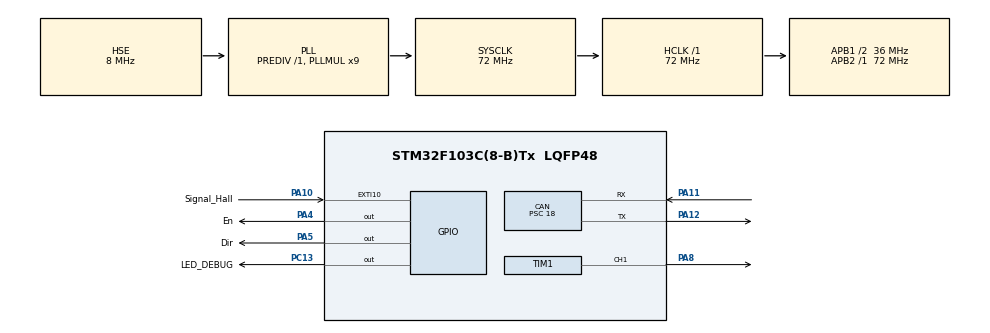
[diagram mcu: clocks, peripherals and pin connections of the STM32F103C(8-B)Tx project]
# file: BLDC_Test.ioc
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CAN.BS1=CAN_BS1_2TQ
CAN.CalculateBaudRate=500000
CAN.CalculateTimeBit=2000
CAN.CalculateTimeQuantum=500.0
CAN.Prescaler=18
Mcu.Family=STM32F1
Mcu.Name=STM32F103C(8-B)Tx
Mcu.Package=LQFP48
NVIC.CAN1_RX1_IRQn=true\:0\:0\:false\:false\:true\:true\:true\:true
NVIC.EXTI15_10_IRQn=true\:0\:0\:false\:false\:true\:true\:true\:true
NVIC.PriorityGroup=NVIC_PRIORITYGROUP_4
NVIC.TIM2_IRQn=true\:0\:0\:true\:false\:true\:true\:true\:true
NVIC.USB_LP_CAN1_RX0_IRQn=true\:0\:0\:false\:false\:true\:true\:true\:true
PA10.GPIO_Label=Signal_Hall
PA10.GPIO_PuPd=GPIO_PULLDOWN
PA10.Signal=GPXTI10
PA11.Mode=CAN_Activate
PA11.Signal=CAN_RX
PA12.Mode=CAN_Activate
PA12.Signal=CAN_TX
PA13.Mode=Serial_Wire
PA13.Signal=SYS_JTMS-SWDIO
PA14.Mode=Serial_Wire
PA14.Signal=SYS_JTCK-SWCLK
PA4.GPIO_Label=En
PA4.Signal=GPIO_Output
PA5.GPIO_Label=Dir
PA5.Signal=GPIO_Output
PA8.Signal=S_TIM1_CH1
PC13-TAMPER-RTC.GPIO_Label=LED_DEBUG
PC13-TAMPER-RTC.Signal=GPIO_Output
PD0-OSC_IN.Mode=HSE-External-Oscillator
PD0-OSC_IN.Signal=RCC_OSC_IN
PD1-OSC_OUT.Mode=HSE-External-Oscillator
PD1-OSC_OUT.Signal=RCC_OSC_OUT
ProjectManager.HeapSize=0x200
ProjectManager.StackSize=0x400
ProjectManager.TargetToolchain=STM32CubeIDE
RCC.AHBFreq_Value=72000000
RCC.APB1CLKDivider=RCC_HCLK_DIV2
RCC.APB1Freq_Value=36000000
RCC.APB1TimFreq_Value=72000000
RCC.APB2Freq_Value=72000000
RCC.APB2TimFreq_Value=72000000
RCC.HCLKFreq_Value=72000000
RCC.PLLMUL=RCC_PLL_MUL9
RCC.PLLSourceVirtual=RCC_PLLSOURCE_HSE
RCC.SYSCLKFreq_VALUE=72000000
RCC.SYSCLKSource=RCC_SYSCLKSOURCE_PLLCLK
RCC.USBFreq_Value=72000000
SH.S_TIM1_CH1.0=TIM1_CH1,PWM Generation1 CH1
TIM1.Channel-PWM\ Generation1\ CH1=TIM_CHANNEL_1
TIM1.Period=1000 -1
TIM1.Prescaler=72-1
TIM2.Period=100-1
TIM2.Prescaler=7200-1
VP_TIM1_VS_ClockSourceINT.Mode=Internal
VP_TIM2_VS_ClockSourceINT.Mode=Internal
board=custom

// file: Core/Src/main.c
/* USER CODE BEGIN Header */
/**
  ******************************************************************************
  * @file           : main.c
  * @brief          : Main program body
  ******************************************************************************
  * @attention
  *
  * Copyright (c) 2024 STMicroelectronics.
  * All rights reserved.
  *
  * This software is licensed under terms that can be found in the LICENSE file
  * in the root directory of this software component.
  * If no LICENSE file comes with this software, it is provided AS-IS.
  *
  ******************************************************************************
  */
/* USER CODE END Header */
#include "main.h"

/* USER CODE BEGIN Includes */
#include <stdbool.h>
/* USER CODE END Includes */

/* USER CODE BEGIN PD */
#define ENABLE		1
#define DISABLE		0
#define FORWARD		1
#define	BACKWARD	0

/* USER CODE END PD */

CAN_HandleTypeDef hcan;

TIM_HandleTypeDef htim1;
TIM_HandleTypeDef htim2;

void SystemClock_Config(void);
static void MX_GPIO_Init(void);
static void MX_TIM1_Init(void);
static void MX_TIM2_Init(void);
static void MX_CAN_Init(void);
/* USER CODE BEGIN PFP */
void wheelStop();
void wheelMoveForward(uint8_t speed);
void wheelMoveBackward(uint8_t speed);
/* USER CODE END PFP */

/* USER CODE BEGIN 0 */
#define DELAY_STEP 50  // Khoảng th�?i gian giữa mỗi bước tăng/giảm (ms)

// Biến lưu trạng thái
volatile uint16_t previousValue = 0; // Giá trị ban đầu của mức 1 (50)
uint16_t targetValue = 0;   // Giá trị cần đạt tới
uint32_t lastUpdateTime = 0; // Lưu th�?i gian lần cập nhật cuối

volatile uint32_t hall_pulse;
volatile uint16_t rpm = 0;

CAN_TxHeaderTypeDef TxHeader;
CAN_RxHeaderTypeDef RxHeader;

uint8_t TxData[8];
uint8_t RxData[8];

uint32_t TxMailbox;

bool datacheck = 0;
bool power_up_bldc = 0;
HAL_StatusTypeDef error;

// Khai báo biến lưu trạng thái trước đó
uint8_t prevRxData[3] = {0, 0, 0}; // Lưu trạng thái trước đó của RxData

void HAL_CAN_RxFifo1MsgPendingCallback(CAN_HandleTypeDef *hcan)
{
	error = HAL_CAN_GetRxMessage(hcan, CAN_RX_FIFO1, &RxHeader, RxData);
	if (RxHeader.DLC == 3)
	{
		datacheck = 1;
	}
}
/* USER CODE END 0 */

int main(void)
{

  /* MCU Configuration--------------------------------------------------------*/

  /* Reset of all peripherals, Initializes the Flash interface and the Systick. */
   HAL_Init();

  /* Configure the system clock */
  SystemClock_Config();

  /* Initialize all configured peripherals */
  MX_GPIO_Init();
  MX_TIM1_Init();
  MX_TIM2_Init();
  MX_CAN_Init();
  /* USER CODE BEGIN 2 */
  HAL_CAN_Start(&hcan);
  // Activate the notification
	HAL_CAN_ActivateNotification(&hcan, CAN_IT_RX_FIFO1_MSG_PENDING);

	TxHeader.DLC = 3;  // data length
	TxHeader.IDE = CAN_ID_STD;
	TxHeader.RTR = CAN_RTR_DATA;

	TxHeader.StdId = 0x104;  // ID BLDC

  HAL_TIM_Base_Start_IT(&htim2);

  HAL_TIM_PWM_Start(&htim1, TIM_CHANNEL_1);

  HAL_GPIO_WritePin(GPIOA, En_Pin, DISABLE);
  HAL_GPIO_WritePin(GPIOA, Dir_Pin, FORWARD);
  wheelStop();
  HAL_Delay(2000);

  //wheelMoveForward(3);
  //wheelMoveBackward();
  /* USER CODE END 2 */

  /* Infinite loop */
  while (1)
  {

    /* USER CODE BEGIN 3 */

	  // Giả lập lệnh thay đổi mức độ (g�?i khi có sự kiện)
//	  wheelMoveForward(0);
//	  changeLevel(0);
//	  HAL_Delay(5000);
//	  wheelMoveForward(5);
//	  changeLevel(5);
//	  HAL_Delay(5000); // Giữ mức 5 trong 2 giây
//	  wheelMoveForward(2);
//	  changeLevel(2);
//	  HAL_Delay(5000);
//	  wheelMoveForward(7);
//	  changeLevel(7);
//	  HAL_Delay(5000);
//	  wheelMoveForward(0);
//	  changeLevel(0);
//	  HAL_Delay(5000);

//	  wheelMoveForward();
	  if (datacheck)
	  {
	      // Kiểm tra nếu dữ liệu mới khác với dữ liệu trước đó
	      if (RxData[0] != prevRxData[0] || RxData[1] != prevRxData[1] || RxData[2] != prevRxData[2])
	      {
	          if (RxData[0] != 0)
	          {
	              if (RxData[1] == 1)
	              {
	            	  if(RxData[1] != prevRxData[1])
	            	  {
	            		  changeLevel((uint8_t)0);
	            		  wheelMoveForward(0);
						  while(previousValue != 0);
	            	  }
	                  wheelMoveForward(RxData[2]);
	                  changeLevel(RxData[2]);
	              }
	              else
	              {
	            	  if(RxData[1] != prevRxData[1])
					  {
	            		  wheelMoveBackward(0);
						  changeLevel((uint8_t)0);
						  while(previousValue != 0);
					  }
	                  wheelMoveBackward(RxData[2]);
	                  changeLevel(RxData[2]);
	              }
	          }
	          else
	          {
	              wheelStop();
	              changeLevel(RxData[2]); //ESP32 should send gear 0 at this time
	          }

	          // Cập nhật giá trị cũ
	          prevRxData[0] = RxData[0];
	          prevRxData[1] = RxData[1];
	          prevRxData[2] = RxData[2];
	      }

	      datacheck = 0; // �?ặt lại c�?

	      // Gửi phản hồi qua CAN
	      TxData[0] = (previousValue >> 8) & 0xFF; // Byte cao
	      TxData[1] = previousValue & 0xFF;        // Byte thấp

	      error = HAL_CAN_AddTxMessage(&hcan, &TxHeader, TxData, &TxMailbox);
	  }
   	  if(HAL_OK != error)
	  {
		  wheelStop();
	  }

  }
  /* USER CODE END 3 */
}

void SystemClock_Config(void)
{
  RCC_OscInitTypeDef RCC_OscInitStruct = {0};
  RCC_ClkInitTypeDef RCC_ClkInitStruct = {0};

  /** Initializes the RCC Oscillators according to the specified parameters
  * in the RCC_OscInitTypeDef structure.
  */
  RCC_OscInitStruct.OscillatorType = RCC_OSCILLATORTYPE_HSE;
  RCC_OscInitStruct.HSEState = RCC_HSE_ON;
  RCC_OscInitStruct.HSEPredivValue = RCC_HSE_PREDIV_DIV1;
  RCC_OscInitStruct.HSIState = RCC_HSI_ON;
  RCC_OscInitStruct.PLL.PLLState = RCC_PLL_ON;
  RCC_OscInitStruct.PLL.PLLSource = RCC_PLLSOURCE_HSE;
  RCC_OscInitStruct.PLL.PLLMUL = RCC_PLL_MUL9;
  if (HAL_RCC_OscConfig(&RCC_OscInitStruct) != HAL_OK)
  {
    Error_Handler();
  }

  /** Initializes the CPU, AHB and APB buses clocks
  */
  RCC_ClkInitStruct.ClockType = RCC_CLOCKTYPE_HCLK|RCC_CLOCKTYPE_SYSCLK
                              |RCC_CLOCKTYPE_PCLK1|RCC_CLOCKTYPE_PCLK2;
  RCC_ClkInitStruct.SYSCLKSource = RCC_SYSCLKSOURCE_PLLCLK;
  RCC_ClkInitStruct.AHBCLKDivider = RCC_SYSCLK_DIV1;
  RCC_ClkInitStruct.APB1CLKDivider = RCC_HCLK_DIV2;
  RCC_ClkInitStruct.APB2CLKDivider = RCC_HCLK_DIV1;

  if (HAL_RCC_ClockConfig(&RCC_ClkInitStruct, FLASH_LATENCY_2) != HAL_OK)
  {
    Error_Handler();
  }
}

static void MX_CAN_Init(void)
{

  hcan.Instance = CAN1;
  hcan.Init.Prescaler = 18;
  hcan.Init.Mode = CAN_MODE_NORMAL;
  hcan.Init.SyncJumpWidth = CAN_SJW_1TQ;
  hcan.Init.TimeSeg1 = CAN_BS1_2TQ;
  hcan.Init.TimeSeg2 = CAN_BS2_1TQ;
  hcan.Init.TimeTriggeredMode = DISABLE;
  hcan.Init.AutoBusOff = DISABLE;
  hcan.Init.AutoWakeUp = DISABLE;
  hcan.Init.AutoRetransmission = DISABLE;
  hcan.Init.ReceiveFifoLocked = DISABLE;
  hcan.Init.TransmitFifoPriority = DISABLE;
  if (HAL_CAN_Init(&hcan) != HAL_OK)
  {
    Error_Handler();
  }
  /* USER CODE BEGIN CAN_Init 2 */
  CAN_FilterTypeDef canfilterconfig;

	canfilterconfig.FilterActivation = CAN_FILTER_ENABLE;
	canfilterconfig.FilterBank = 10;  // which filter bank to use from the assigned ones
	canfilterconfig.FilterFIFOAssignment = CAN_FILTER_FIFO1;
	canfilterconfig.FilterIdHigh = 0x037<<5;
	canfilterconfig.FilterIdLow = 0;
	canfilterconfig.FilterMaskIdHigh = 0xFFF<<5;
	canfilterconfig.FilterMaskIdLow = 0x0000;
	canfilterconfig.FilterMode = CAN_FILTERMODE_IDMASK;
	canfilterconfig.FilterScale = CAN_FILTERSCALE_32BIT;
	canfilterconfig.SlaveStartFilterBank = 0;  // doesn't matter in single can controllers

	HAL_CAN_ConfigFilter(&hcan, &canfilterconfig);

  /* USER CODE END CAN_Init 2 */

}

static void MX_TIM1_Init(void)
{

  TIM_ClockConfigTypeDef sClockSourceConfig = {0};
  TIM_MasterConfigTypeDef sMasterConfig = {0};
  TIM_OC_InitTypeDef sConfigOC = {0};
  TIM_BreakDeadTimeConfigTypeDef sBreakDeadTimeConfig = {0};

  htim1.Instance = TIM1;
  htim1.Init.Prescaler = 72-1;
  htim1.Init.CounterMode = TIM_COUNTERMODE_UP;
  htim1.Init.Period = 1000 -1;
  htim1.Init.ClockDivision = TIM_CLOCKDIVISION_DIV1;
  htim1.Init.RepetitionCounter = 0;
  htim1.Init.AutoReloadPreload = TIM_AUTORELOAD_PRELOAD_DISABLE;
  if (HAL_TIM_Base_Init(&htim1) != HAL_OK)
  {
    Error_Handler();
  }
  sClockSourceConfig.ClockSource = TIM_CLOCKSOURCE_INTERNAL;
  if (HAL_TIM_ConfigClockSource(&htim1, &sClockSourceConfig) != HAL_OK)
  {
    Error_Handler();
  }
  if (HAL_TIM_PWM_Init(&htim1) != HAL_OK)
  {
    Error_Handler();
  }
  sMasterConfig.MasterOutputTrigger = TIM_TRGO_RESET;
  sMasterConfig.MasterSlaveMode = TIM_MASTERSLAVEMODE_DISABLE;
  if (HAL_TIMEx_MasterConfigSynchronization(&htim1, &sMasterConfig) != HAL_OK)
  {
    Error_Handler();
  }
  sConfigOC.OCMode = TIM_OCMODE_PWM1;
  sConfigOC.Pulse = 0;
  sConfigOC.OCPolarity = TIM_OCPOLARITY_HIGH;
  sConfigOC.OCNPolarity = TIM_OCNPOLARITY_HIGH;
  sConfigOC.OCFastMode = TIM_OCFAST_DISABLE;
  sConfigOC.OCIdleState = TIM_OCIDLESTATE_RESET;
  sConfigOC.OCNIdleState = TIM_OCNIDLESTATE_RESET;
  if (HAL_TIM_PWM_ConfigChannel(&htim1, &sConfigOC, TIM_CHANNEL_1) != HAL_OK)
  {
    Error_Handler();
  }
  sBreakDeadTimeConfig.OffStateRunMode = TIM_OSSR_DISABLE;
  sBreakDeadTimeConfig.OffStateIDLEMode = TIM_OSSI_DISABLE;
  sBreakDeadTimeConfig.LockLevel = TIM_LOCKLEVEL_OFF;
  sBreakDeadTimeConfig.DeadTime = 0;
  sBreakDeadTimeConfig.BreakState = TIM_BREAK_DISABLE;
  sBreakDeadTimeConfig.BreakPolarity = TIM_BREAKPOLARITY_HIGH;
  sBreakDeadTimeConfig.AutomaticOutput = TIM_AUTOMATICOUTPUT_DISABLE;
  if (HAL_TIMEx_ConfigBreakDeadTime(&htim1, &sBreakDeadTimeConfig) != HAL_OK)
  {
    Error_Handler();
  }
  HAL_TIM_MspPostInit(&htim1);

}

static void MX_TIM2_Init(void)
{

  TIM_ClockConfigTypeDef sClockSourceConfig = {0};
  TIM_MasterConfigTypeDef sMasterConfig = {0};

  htim2.Instance = TIM2;
  htim2.Init.Prescaler = 7200-1;
  htim2.Init.CounterMode = TIM_COUNTERMODE_UP;
  htim2.Init.Period = 100-1;
  htim2.Init.ClockDivision = TIM_CLOCKDIVISION_DIV1;
  htim2.Init.AutoReloadPreload = TIM_AUTORELOAD_PRELOAD_DISABLE;
  if (HAL_TIM_Base_Init(&htim2) != HAL_OK)
  {
    Error_Handler();
  }
  sClockSourceConfig.ClockSource = TIM_CLOCKSOURCE_INTERNAL;
  if (HAL_TIM_ConfigClockSource(&htim2, &sClockSourceConfig) != HAL_OK)
  {
    Error_Handler();
  }
  sMasterConfig.MasterOutputTrigger = TIM_TRGO_RESET;
  sMasterConfig.MasterSlaveMode = TIM_MASTERSLAVEMODE_DISABLE;
  if (HAL_TIMEx_MasterConfigSynchronization(&htim2, &sMasterConfig) != HAL_OK)
  {
    Error_Handler();
  }

}

static void MX_GPIO_Init(void)
{
  GPIO_InitTypeDef GPIO_InitStruct = {0};

  /* GPIO Ports Clock Enable */
  __HAL_RCC_GPIOC_CLK_ENABLE();
  __HAL_RCC_GPIOD_CLK_ENABLE();
  __HAL_RCC_GPIOA_CLK_ENABLE();

  /*Configure GPIO pin Output Level */
  HAL_GPIO_WritePin(LED_DEBUG_GPIO_Port, LED_DEBUG_Pin, GPIO_PIN_RESET);

  /*Configure GPIO pin Output Level */
  HAL_GPIO_WritePin(GPIOA, En_Pin|Dir_Pin, GPIO_PIN_RESET);

  /*Configure GPIO pin : LED_DEBUG_Pin */
  GPIO_InitStruct.Pin = LED_DEBUG_Pin;
  GPIO_InitStruct.Mode = GPIO_MODE_OUTPUT_PP;
  GPIO_InitStruct.Pull = GPIO_NOPULL;
  GPIO_InitStruct.Speed = GPIO_SPEED_FREQ_LOW;
  HAL_GPIO_Init(LED_DEBUG_GPIO_Port, &GPIO_InitStruct);

  /*Configure GPIO pins : En_Pin Dir_Pin */
  GPIO_InitStruct.Pin = En_Pin|Dir_Pin;
  GPIO_InitStruct.Mode = GPIO_MODE_OUTPUT_PP;
  GPIO_InitStruct.Pull = GPIO_NOPULL;
  GPIO_InitStruct.Speed = GPIO_SPEED_FREQ_LOW;
  HAL_GPIO_Init(GPIOA, &GPIO_InitStruct);

  /*Configure GPIO pin : Signal_Hall_Pin */
  GPIO_InitStruct.Pin = Signal_Hall_Pin;
  GPIO_InitStruct.Mode = GPIO_MODE_IT_RISING;
  GPIO_InitStruct.Pull = GPIO_PULLDOWN;
  HAL_GPIO_Init(Signal_Hall_GPIO_Port, &GPIO_InitStruct);

  /* EXTI interrupt init*/
  HAL_NVIC_SetPriority(EXTI15_10_IRQn, 0, 0);
  HAL_NVIC_EnableIRQ(EXTI15_10_IRQn);

}

/* USER CODE BEGIN 4 */

/*This function will read a number of pulse which was sent by BLDC HALL sensor.*/
void EXTI15_10_IRQHandler(void)
{
  /* USER CODE BEGIN EXTI15_10_IRQn 0 */

  /* USER CODE END EXTI15_10_IRQn 0 */
  HAL_GPIO_EXTI_IRQHandler(Signal_Hall_Pin);
  /* USER CODE BEGIN EXTI15_10_IRQn 1 */
    if(HAL_GPIO_ReadPin(GPIOA, Signal_Hall_Pin) == 1)
  	{
  	  hall_pulse++;
  	  // 1 revolution = 45 pulse
  //	  if(hall_pulse >= 450)
  //	  {
  // 		  wheelStop();
  //		  hall_pulse = 0;
  //	  }
  	}

  /* USER CODE END EXTI15_10_IRQn 1 */
}

void wheelStop()
{
    __HAL_TIM_SET_COMPARE(&htim1, TIM_CHANNEL_1, 0);
    HAL_GPIO_WritePin(GPIOA, En_Pin, DISABLE);
}

void wheelMoveForward(uint8_t speed)
{
	__HAL_TIM_SET_COMPARE(&htim1, TIM_CHANNEL_1, 0);
	HAL_GPIO_WritePin(GPIOA, En_Pin, DISABLE);
	HAL_GPIO_WritePin(GPIOA, Dir_Pin, FORWARD);
	HAL_GPIO_WritePin(GPIOA, En_Pin, ENABLE);

	__HAL_TIM_SET_COMPARE(&htim1, TIM_CHANNEL_1, speed*100);

}

void wheelMoveBackward(uint8_t speed)
{
	__HAL_TIM_SET_COMPARE(&htim1, TIM_CHANNEL_1, 0);
	HAL_GPIO_WritePin(GPIOA, En_Pin, DISABLE);
	HAL_GPIO_WritePin(GPIOA, Dir_Pin, BACKWARD);
	HAL_GPIO_WritePin(GPIOA, En_Pin, ENABLE);

	__HAL_TIM_SET_COMPARE(&htim1, TIM_CHANNEL_1, speed*100);

}

/*This function calculate the number of pulse per second.*/
void TIM2_IRQHandler(void)
{
  /* USER CODE BEGIN TIM2_IRQn 0 */

  /* USER CODE END TIM2_IRQn 0 */
  HAL_TIM_IRQHandler(&htim2);
  /* USER CODE BEGIN TIM2_IRQn 1 */
  rpm = (hall_pulse * 60) / 45;

  // Reset bộ đếm xung cho lần tính tiếp theo
  hall_pulse = 0;

  updateLevelSmoothly();

  /* USER CODE END TIM2_IRQn 1 */
}

/*mock-up*/

// Hàm ánh xạ mức độ (1-10) sang giá trị (50-350)
uint16_t mapLevelToValue(uint8_t level) {
	return (level * 350) / 10;
}

// Hàm đặt mục tiêu thay đổi mức độ
void changeLevel(uint8_t newLevel) {
    if (newLevel < 0) newLevel = 0;
    if (newLevel > 10) newLevel = 10;

    targetValue = mapLevelToValue(newLevel);
}

// Hàm cập nhật giá trị theo th�?i gian (g�?i trong vòng lặp chính)
void updateLevelSmoothly() {
    uint32_t currentTime = HAL_GetTick();

    // Kiểm tra nếu đã đến th�?i gian cập nhật tiếp theo
    if (currentTime - lastUpdateTime >= DELAY_STEP) {
        lastUpdateTime = currentTime;

        // Tăng/Giảm dần v�? targetValue
        if (previousValue < targetValue) {
            previousValue += 5; // Tăng dần
            if (previousValue > targetValue) previousValue = targetValue;
        } else if (previousValue > targetValue) {
            previousValue -= 5; // Giảm dần
            if (previousValue < targetValue) previousValue = targetValue;
        }

        // Gửi giá trị mới đến động cơ hoặc PWM
        // Ví dụ: setMotorSpeed(previousValue);

    }
    if(datacheck == 1)
    {
      TxData[0] = (previousValue >> 8) & 0xFF; // Byte cao
	  TxData[1] = previousValue & 0xFF;        // Byte thấp

	  error = HAL_CAN_AddTxMessage(&hcan, &TxHeader, TxData, &TxMailbox);
    }
}

/* USER CODE END 4 */

void Error_Handler(void)
{
  __disable_irq();
  while (1)
  {
  }
}
